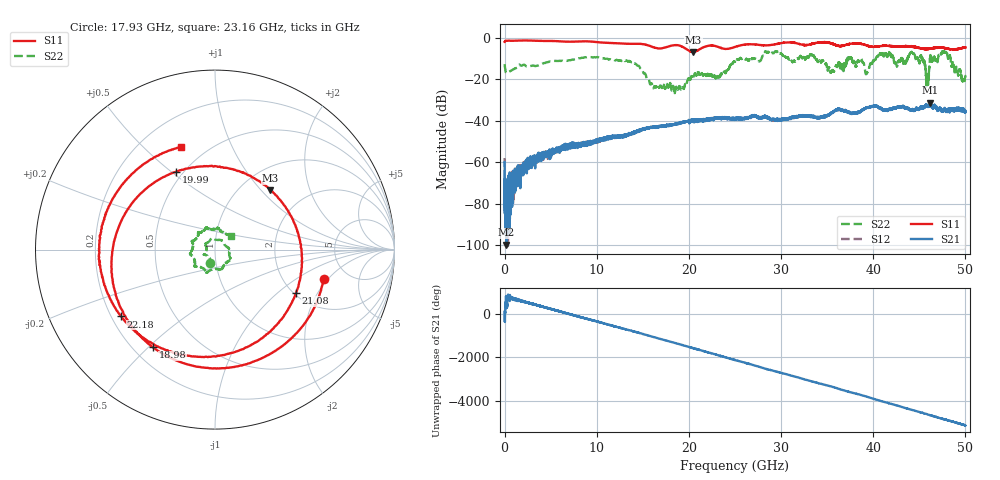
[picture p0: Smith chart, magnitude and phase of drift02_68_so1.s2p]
!Created with skrf (http://scikit-rf.org).
# Hz S RI R 50.0
!freq ReS11 ImS11 ReS21 ImS21 ReS12 ImS12 ReS22 ImS22
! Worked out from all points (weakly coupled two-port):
!   10001 points, 300 kHz to 50 GHz, reference 50 ohm
!   highest |S21| = -31.39 dB at 46.2 GHz (marker M1); lowest = -99.9 dB at 205.3 MHz (marker M2)
!   lowest |S11| = -6.9 dB at 20.49 GHz (marker M3), VSWR 2.65, Z = 67.8 + j56.3 ohm
!   |S11| at or under -10 dB: nowhere
!   |S22| runs from -26.8 to -6.2 dB; largest |S21 - S12| = 0.0031
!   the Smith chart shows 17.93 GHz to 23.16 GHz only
!   S11 on the Smith chart (normalised r, x): 17.93 GHz: 3.32, -1.79; 18.98 GHz: 0.28, -0.52; 19.99 GHz: 0.46, +0.52; 21.08 GHz: 2.05, -1.34; 22.18 GHz: 0.24, -0.30; 23.16 GHz: 0.37, +0.65
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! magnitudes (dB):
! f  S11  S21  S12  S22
! 300 kHz  -2.1  -60.1  -58.1  -12.7
! 205.3 MHz  -1.4  -99.9  -69.2  -17.0
! 3.035 GHz  -1.4  -58.6  -59.4  -13.5
! 8.335 GHz  -1.7  -51.4  -51.3  -9.7
! 13.71 GHz  -3.0  -46.4  -46.3  -11.7
! 16.67 GHz  -5.2  -42.9  -42.9  -23.7
! 17.93 GHz  -4.1  -42.1  -42.1  -21.8
! 18.98 GHz  -3.8  -41.0  -41.2  -23.4
! 19.99 GHz  -6.3  -40.4  -40.2  -19.7
! 20.49 GHz  -6.9  -40.4  -40.4  -19.1
! 21.08 GHz  -5.8  -39.6  -40.0  -17.1
! 22.18 GHz  -3.9  -39.0  -39.5  -18.0
! 23.16 GHz  -4.4  -38.8  -38.6  -18.6
! 25 GHz  -4.5  -39.4  -39.0  -11.5
! 33.34 GHz  -3.0  -37.6  -37.9  -8.3
! 39.33 GHz  -3.8  -33.6  -33.7  -16.9
! 41.67 GHz  -4.0  -34.7  -34.7  -7.8
! 44.27 GHz  -4.2  -34.4  -34.8  -7.5
! 45.84 GHz  -5.5  -33.1  -32.7  -19.6
! 46.2 GHz  -5.2  -31.4  -31.5  -8.4
! 47.76 GHz  -5.0  -34.4  -34.5  -6.8
! 50 GHz  -4.7  -35.6  -35.8  -18.6
